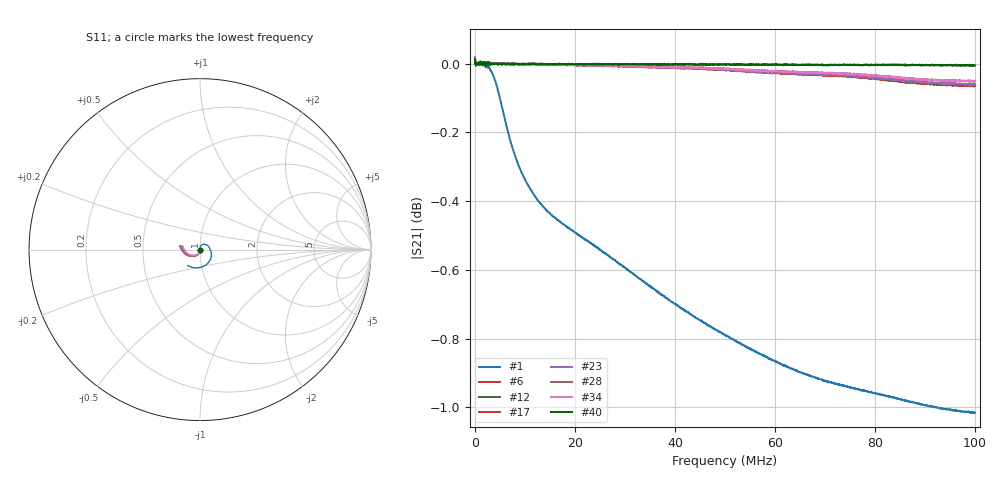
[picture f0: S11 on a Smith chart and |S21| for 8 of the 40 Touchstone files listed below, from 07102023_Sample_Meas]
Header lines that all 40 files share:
!Agilent Technologies,E5061B,MY49102235,A.02.00
!Data & Calibration Information:
!Freq	S11:SOLT2(ON)	S21:SOLT2(ON)	S12:SOLT2(ON)	S22:SOLT2(ON)
# Hz S RI R 50
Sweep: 5 Hz to 100 MHz
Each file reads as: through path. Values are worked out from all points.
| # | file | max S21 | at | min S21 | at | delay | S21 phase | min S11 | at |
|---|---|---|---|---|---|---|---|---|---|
| 1 | L74087BAN1_0A_AVG.S2P | 0.02 dB | 5 Hz | -1.0 dB | 99.62 MHz | 2.72 ns | -52 deg at 50.03 MHz | -67.7 dB | 62.54 kHz |
| 2 | L74087BAN1_5A_AVG.S2P | 0.02 dB | 5 Hz | -1.1 dB | 97.12 MHz | 2.76 ns | -53 deg at 50.03 MHz | -67.9 dB | 62.54 kHz |
| 3 | L74087BAN1_10A_AVG.S2P | 0.02 dB | 5 Hz | 0.0 dB | 99.62 MHz | 2.82 ns | -51 deg at 50.03 MHz | -103.8 dB | 125.1 kHz |
| 4 | L74087BAN1_15A_AVG.S2P | 0.02 dB | 5 Hz | -0.1 dB | 99.62 MHz | 2.69 ns | -48 deg at 50.03 MHz | -85.9 dB | 62.54 kHz |
| 5 | L74087BAN1_20A_AVG.S2P | 0.02 dB | 5 Hz | -0.1 dB | 99.62 MHz | 2.67 ns | -48 deg at 50.03 MHz | -84.4 dB | 62.54 kHz |
| 6 | L74087BAN1_25A_AVG.S2P | 0.02 dB | 5 Hz | -0.1 dB | 99.62 MHz | 2.66 ns | -48 deg at 50.03 MHz | -86.1 dB | 62.54 kHz |
| 7 | L74087BAN2_0A_AVG.S2P | 0.02 dB | 5 Hz | -1.0 dB | 99.81 MHz | 2.73 ns | -52 deg at 50.03 MHz | -68.4 dB | 62.54 kHz |
| 8 | L74087BAN2_5A_AVG.S2P | 0.02 dB | 5 Hz | -1.1 dB | 97.87 MHz | 2.76 ns | -53 deg at 50.03 MHz | -67.3 dB | 62.54 kHz |
| 9 | L74087BAN2_10A_AVG.S2P | 0.02 dB | 5 Hz | -0.1 dB | 99.75 MHz | 2.84 ns | -51 deg at 50.03 MHz | -91.7 dB | 125.1 kHz |
| 10 | L74087BAN2_15A_AVG.S2P | 0.02 dB | 5 Hz | 0.0 dB | 99.62 MHz | 2.69 ns | -49 deg at 50.03 MHz | -84.6 dB | 62.54 kHz |
| 11 | L74087BAN2_20A_AVG.S2P | 0.02 dB | 5 Hz | -0.1 dB | 99.75 MHz | 2.67 ns | -48 deg at 50.03 MHz | -82.9 dB | 62.54 kHz |
| 12 | L74087BAN2_25A_AVG.S2P | 0.02 dB | 5 Hz | -0.1 dB | 99.62 MHz | 2.66 ns | -48 deg at 50.03 MHz | -83.8 dB | 62.54 kHz |
| 13 | L74504BBN1_0A_AVG.S2P | 0.02 dB | 5 Hz | -1.0 dB | 99.94 MHz | 2.73 ns | -52 deg at 50.03 MHz | -67.6 dB | 62.54 kHz |
| 14 | L74504BBN1_5A_AVG.S2P | 0.02 dB | 5 Hz | -1.2 dB | 99.62 MHz | 2.76 ns | -53 deg at 50.03 MHz | -66.9 dB | 62.54 kHz |
| 15 | L74504BBN1_10A_AVG.S2P | 0.01 dB | 5 Hz | 0.0 dB | 99.81 MHz | 2.82 ns | -51 deg at 50.03 MHz | -91.0 dB | 125.1 kHz |
| 16 | L74504BBN1_15A_AVG.S2P | 0.02 dB | 5 Hz | -0.1 dB | 99.62 MHz | 2.69 ns | -48 deg at 50.03 MHz | -85.2 dB | 62.54 kHz |
| 17 | L74504BBN1_20A_AVG.S2P | 0.02 dB | 5 Hz | -0.1 dB | 99.62 MHz | 2.67 ns | -48 deg at 50.03 MHz | -85.1 dB | 62.54 kHz |
| 18 | L74504BBN1_25A_AVG.S2P | 0.02 dB | 5 Hz | -0.1 dB | 99.62 MHz | 2.66 ns | -48 deg at 50.03 MHz | -83.0 dB | 62.54 kHz |
| 19 | L74504BBN2_0A_AVG.S2P | 0.02 dB | 5 Hz | -1.0 dB | 99.81 MHz | 2.73 ns | -52 deg at 50.03 MHz | -68.2 dB | 62.54 kHz |
| 20 | L74504BBN2_5A_AVG.S2P | 0.02 dB | 5 Hz | -1.1 dB | 97.87 MHz | 2.75 ns | -53 deg at 50.03 MHz | -67.3 dB | 62.54 kHz |
| 21 | L74504BBN2_10A_AVG.S2P | 0.02 dB | 5 Hz | -0.1 dB | 99.75 MHz | 2.86 ns | -51 deg at 50.03 MHz | -99.4 dB | 2.001 MHz |
| 22 | L74504BBN2_15A_AVG.S2P | 0.02 dB | 5 Hz | 0.0 dB | 99.62 MHz | 2.69 ns | -48 deg at 50.03 MHz | -84.5 dB | 62.54 kHz |
| 23 | L74504BBN2_20A_AVG.S2P | 0.02 dB | 5 Hz | -0.1 dB | 99.62 MHz | 2.67 ns | -48 deg at 50.03 MHz | -83.9 dB | 62.54 kHz |
| 24 | L74504BBN2_25A_AVG.S2P | 0.02 dB | 5 Hz | -0.1 dB | 99.75 MHz | 2.66 ns | -48 deg at 50.03 MHz | -83.3 dB | 62.54 kHz |
| 25 | L76583BCN1_0A_AVG.S2P | 0.01 dB | 5 Hz | -1.0 dB | 99.62 MHz | 2.71 ns | -52 deg at 50.03 MHz | -68.5 dB | 62.54 kHz |
| 26 | L76583BCN1_5A_AVG.S2P | 0.01 dB | 5 Hz | -1.0 dB | 93.25 MHz | 2.74 ns | -53 deg at 50.03 MHz | -68.9 dB | 62.54 kHz |
| 27 | L76583BCN1_10A_AVG.S2P | 0.02 dB | 5 Hz | -0.1 dB | 99.62 MHz | 2.85 ns | -51 deg at 50.03 MHz | -89.2 dB | 125.1 kHz |
| 28 | L76583BCN1_15A_AVG.S2P | 0.01 dB | 5 Hz | -0.1 dB | 99.62 MHz | 2.69 ns | -49 deg at 50.03 MHz | -83.5 dB | 62.54 kHz |
| 29 | L76583BCN1_20A_AVG.S2P | 0.01 dB | 5 Hz | -0.1 dB | 99.62 MHz | 2.67 ns | -48 deg at 50.03 MHz | -83.6 dB | 62.54 kHz |
| 30 | L76583BCN1_25A_AVG.S2P | 0.02 dB | 5 Hz | -0.1 dB | 99.25 MHz | 2.66 ns | -48 deg at 50.03 MHz | -82.0 dB | 62.54 kHz |
| 31 | L76583BCN2_0A_AVG.S2P | 0.02 dB | 5 Hz | -1.0 dB | 99.62 MHz | 2.71 ns | -52 deg at 50.03 MHz | -68.9 dB | 62.54 kHz |
| 32 | L76583BCN2_5A_AVG.S2P | 0.02 dB | 5 Hz | -1.0 dB | 70.73 MHz | 2.74 ns | -53 deg at 50.03 MHz | -69.3 dB | 62.54 kHz |
| 33 | L76583BCN2_10A_AVG.S2P | 0.02 dB | 5 Hz | -0.1 dB | 99.75 MHz | 2.86 ns | -51 deg at 50.03 MHz | -89.5 dB | 125.1 kHz |
| 34 | L76583BCN2_15A_AVG.S2P | 0.02 dB | 5 Hz | -0.1 dB | 99.62 MHz | 2.69 ns | -49 deg at 50.03 MHz | -84.3 dB | 62.54 kHz |
| 35 | L76583BCN2_20A_AVG.S2P | 0.01 dB | 5 Hz | -0.1 dB | 99.75 MHz | 2.67 ns | -48 deg at 50.03 MHz | -83.2 dB | 62.54 kHz |
| 36 | L76583BCN2_25A_AVG.S2P | 0.02 dB | 5 Hz | -0.1 dB | 99.62 MHz | 2.67 ns | -48 deg at 50.03 MHz | -84.0 dB | 62.54 kHz |
| 37 | MACOR_SAMPLE_0A_AVG.S2P | 0.01 dB | 5 Hz | 0.0 dB | 97.87 MHz | 2.52 ns | -45 deg at 50.03 MHz | -84.1 dB | 62.54 kHz |
| 38 | MACOR_SAMPLE_25A_AVG.S2P | 0.01 dB | 5 Hz | 0.0 dB | 94.31 MHz | 2.51 ns | -45 deg at 50.03 MHz | -85.3 dB | 62.54 kHz |
| 39 | NO_SAMPLE_0A_AVG.S2P | 0.01 dB | 5 Hz | 0.0 dB | 2.126 MHz | 2.43 ns | -44 deg at 50.03 MHz | -102.2 dB | 1.063 MHz |
| 40 | NO_SAMPLE_0A_AVG_AFTERSET1.S2P | 0.01 dB | 5 Hz | 0.0 dB | 2.126 MHz | 2.43 ns | -44 deg at 50.03 MHz | -97.8 dB | 2.502 MHz |
